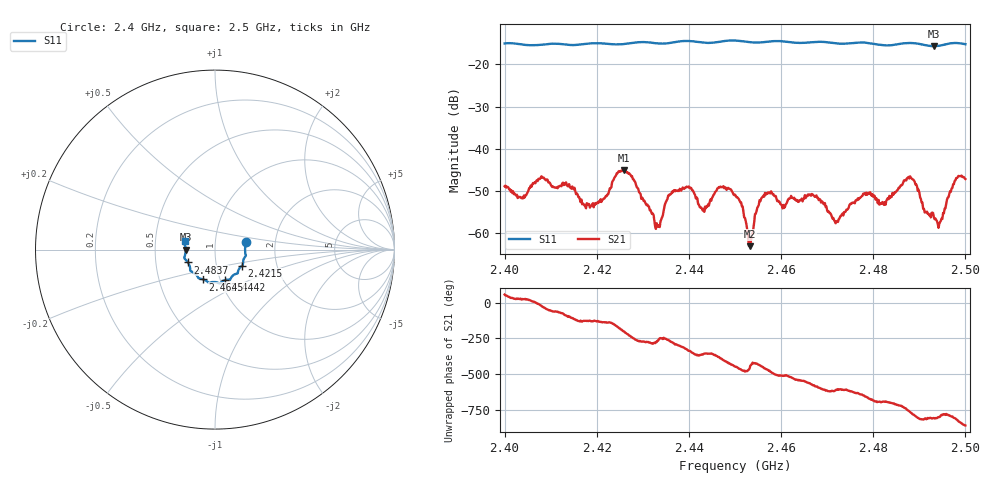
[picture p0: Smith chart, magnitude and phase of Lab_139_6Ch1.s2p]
# Hz S RI R 50
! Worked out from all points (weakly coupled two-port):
!   601 points, 2.4 GHz to 2.5 GHz, reference 50 ohm
!   highest |S21| = -45.03 dB at 2.4258 GHz (marker M1); lowest = -63.0 dB at 2.4532 GHz (marker M2)
!   lowest |S11| = -15.7 dB at 2.4932 GHz (marker M3), VSWR 1.39, Z = 36 - j0.0579 ohm
!   |S11| at or under -10 dB: start of sweep to end of sweep
!   S12 and S22 are empty: the file has one direction only
!   S11 on the Smith chart (normalised r, x): 2.4 GHz: 1.41, +0.12; 2.4215 GHz: 1.33, -0.25; 2.4442 GHz: 1.05, -0.37; 2.4645 GHz: 0.83, -0.29; 2.4837 GHz: 0.73, -0.11; 2.5 GHz: 0.71, +0.07
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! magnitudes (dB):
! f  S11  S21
! 2.4 GHz  -15.1  -48.9
! 2.4038 GHz  -15.3  -51.6
! 2.4083 GHz  -15.4  -46.8
! 2.4167 GHz  -15.3  -52.0
! 2.4215 GHz  -15.1  -51.8
! 2.4258 GHz  -15.2  -45.0
! 2.4333 GHz  -15.1  -58.4
! 2.4368 GHz  -14.8  -49.8
! 2.4442 GHz  -15.0  -53.1
! 2.45 GHz  -14.4  -50.8
! 2.4532 GHz  -14.8  -63.0
! 2.4567 GHz  -14.7  -50.8
! 2.4645 GHz  -15.0  -51.8
! 2.4667 GHz  -14.8  -50.7
! 2.472 GHz  -15.1  -57.2
! 2.478 GHz  -14.9  -50.6
! 2.4833 GHz  -15.6  -51.9
! 2.4837 GHz  -15.5  -51.6
! 2.4882 GHz  -15.0  -46.8
! 2.4932 GHz  -15.7  -56.3
! 2.4945 GHz  -15.6  -57.3
! 2.5 GHz  -15.3  -47.1
